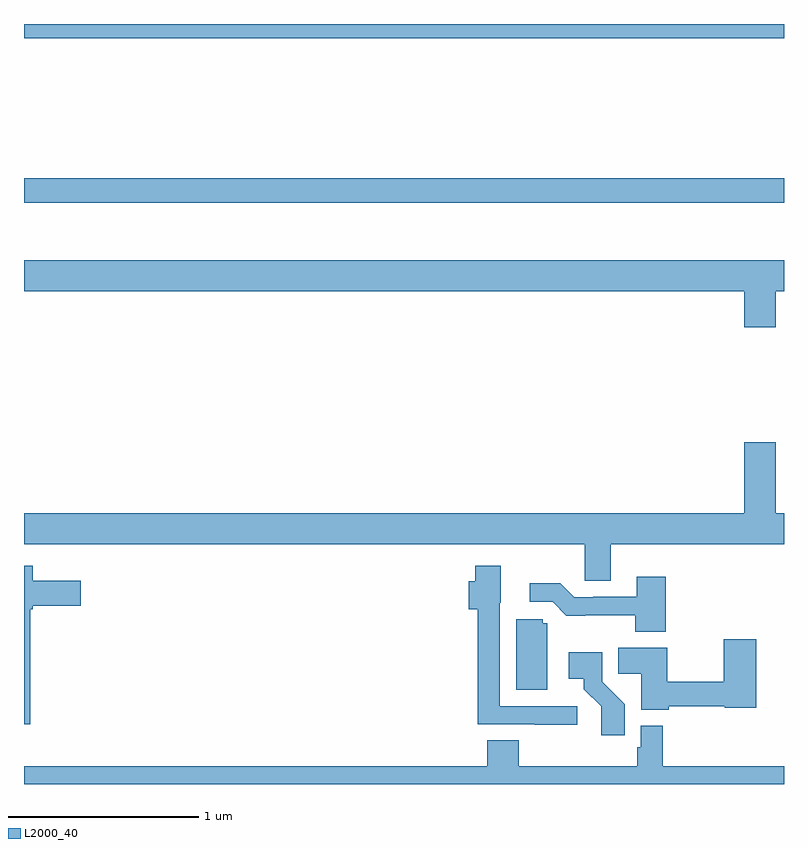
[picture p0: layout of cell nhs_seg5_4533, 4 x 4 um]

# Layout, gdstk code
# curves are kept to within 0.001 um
import gdstk
lib = gdstk.Library(unit=1e-6, precision=1e-09)
def R(c, l, rs):  # rectangles x0, y0, x1, y1
    for r in rs: c.add(gdstk.rectangle(r[:2], r[2:], *l))
def P(c, l, *ps):  # polygons
    for p in ps: c.add(gdstk.Polygon(p, *l))
L2000_40 = (2000, 40)

nhs_seg5_4533 = lib.new_cell('nhs_seg5_4533')
R(nhs_seg5_4533, L2000_40, [(377,891.858,381,891.986), (377,892.724,381,892.799)])
P(nhs_seg5_4533, L2000_40, [(380.956,891.392),(381,891.392),(381,891.556),(377,891.556),(377,891.392),(380.792,891.392),(380.792,891.204),(380.956,891.204)],
  [(380.089,890.06),(381,890.06),(381,890.224),(380.956,890.224),(380.956,890.599),(380.792,890.599),(380.792,890.224),(377,890.224),(377,890.06),(379.95,890.06),(379.95,889.87),(380.089,889.87)],
  [(377.033,889.718),(377.046,889.718),(377.046,889.736),(377.299,889.736),(377.299,889.87),(377.046,889.87),(377.046,889.948),(377,889.948),(377,889.113),(377.033,889.113)],
  [(379.912,889.209),(379.503,889.209),(379.503,889.752),(379.51,889.752),(379.51,889.948),(379.374,889.948),(379.374,889.866),(379.34,889.866),(379.34,889.718),(379.387,889.718),(379.387,889.113),(379.687,889.113),(379.687,889.111),(379.912,889.111)],
  [(380.378,889.891),(380.225,889.891),(380.225,889.785),(379.996,889.785),(379.996,889.782),(379.896,889.782),(379.823,889.855),(379.662,889.855),(379.662,889.758),(379.782,889.758),(379.855,889.685),(380.218,889.686),(380.218,889.601),(380.378,889.601)],
  [(379.753,889.644),(379.731,889.644),(379.731,889.665),(379.592,889.665),(379.592,889.296),(379.753,889.296)],
  [(380.394,889.209),(380.688,889.209),(380.688,889.201),(380.855,889.201),(380.855,889.561),(380.684,889.561),(380.684,889.337),(380.386,889.337),(380.386,889.516),(380.128,889.516),(380.128,889.378),(380.249,889.378),(380.249,889.19),(380.394,889.19)],
  [(380.162,889.218),(380.043,889.337),(380.043,889.492),(379.866,889.492),(379.866,889.352),(379.946,889.352),(379.946,889.297),(380.037,889.207),(380.037,889.056),(380.162,889.056)],
  [(381,888.892),(380.363,888.892),(380.363,889.105),(380.247,889.105),(380.247,888.993),(380.227,888.993),(380.227,888.892),(379.604,888.892),(379.604,889.028),(379.439,889.028),(379.439,888.892),(377,888.892),(377,888.799),(381,888.799)])

lib.write_gds('nhs_seg5_4533.gds')
